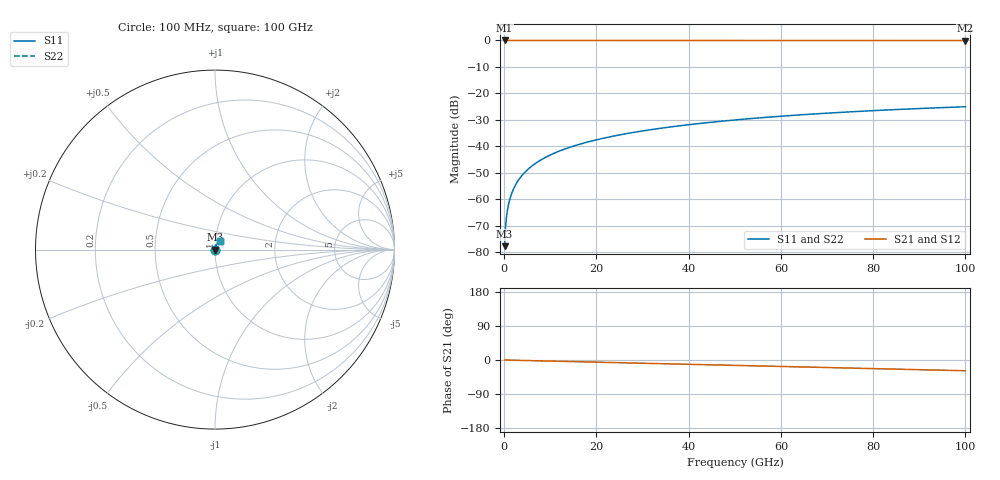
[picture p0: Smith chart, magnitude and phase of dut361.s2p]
! Touchstone file exported from HFSS 2026.1.0
!  File:  C:/ffzhzh/LocalFiles/Ansys_Project_Files/temp_train_TSV_361_1783510184_41296.aedt
!  Generated:  07:30:54 PM Jul  8, 2026
!  Design:  TSV
!  Project:  temp_train_TSV_361_1783510184_41296
! Variables:
!  h_bsmrdl = 2um
!  h_ox = 20um
!  h_rdl = 5um
!  h_sub = 51.47um
!  h_tmrdl = 5um
!  h_tsv = 51.47um
!  h_via = 3um
!  l_bsmrdl = 300um
!  l_sub = 420.56um
!  l_tmrdl = 200um
!  m_sub = 200um
!  pitch = 47.29um
!  r_tsv = 10.28um
!  s_tmrdl = 10um
!  w_bsmrdl = 18um
!  w_sub = 500um
!  w_tmrdl = 12um
!  x_tsv_center1 = 206um
!  x_tsv_center2 = 524um
!  x_tsv_center3 = 736um
!  x_tsv_center4 = 1054um
!  x_tsv_center5 = 1266um
!  x_tsv_center6 = 1584um
# GHz S MA R 50.000000
! Terminal data exported
! Port[1] = TSV1_1_T1
! Port[2] = TSV1_1_T2
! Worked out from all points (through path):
!   1000 points, 100 MHz to 100 GHz, reference 50 ohm
!   highest |S21| = 0.00 dB at 100 MHz (marker M1); lowest = 0.0 dB at 100 GHz (marker M2)
!   group delay of S21, straight-line fit = 788 fs
!   lowest |S11| = -77.7 dB at 100 MHz (marker M3), VSWR 1.00, Z = 50 + j0.00957 ohm
!   |S11| at or under -10 dB: start of sweep to end of sweep
!   |S22| runs from -77.7 to -25.0 dB; largest |S21 - S12| = 2.1e-15
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0.1  0.0001305 47.2  0.9999 -0.0  0.9999 -0.0  0.0001305 47.2
! Gamma 0 0 0 0
! Port Impedance 50 0 50 0
0.4  0.0003816 70.7  0.9999 -0.1  0.9999 -0.1  0.0003816 70.7
0.7  0.0006149 74.2  0.9998 -0.2  0.9998 -0.2  0.0006149 74.2
0.8  0.0006892 75.0  0.9998 -0.2  0.9998 -0.2  0.0006892 75.0
1.1  0.0009076 76.7  0.9998 -0.3  0.9998 -0.3  0.0009076 76.7
1.4  0.001123 77.9  0.9998 -0.4  0.9998 -0.4  0.001123 77.9
1.9  0.001478 79.1  0.9997 -0.6  0.9997 -0.6  0.001478 79.1
2.4  0.001827 79.9  0.9997 -0.7  0.9997 -0.7  0.001827 79.9
3.1  0.002307 80.6  0.9997 -0.9  0.9997 -0.9  0.002307 80.6
3.9  0.002848 81.1  0.9996 -1.1  0.9996 -1.1  0.002848 81.1
4.9  0.003517 81.6  0.9996 -1.4  0.9996 -1.4  0.003517 81.6
6.1  0.004313 81.9  0.9995 -1.7  0.9995 -1.7  0.004313 81.9
8.9  0.006157 82.1  0.9994 -2.5  0.9994 -2.5  0.006157 82.1
12.4  0.008438 81.7  0.9993 -3.5  0.9993 -3.5  0.008438 81.7
16.8  0.01127 81.0  0.9991 -4.8  0.9991 -4.8  0.01127 81.0
24.2  0.01595 79.6  0.9989 -6.9  0.9989 -6.9  0.01595 79.6
33.4  0.02166 77.5  0.9986 -9.5  0.9986 -9.5  0.02166 77.6
41.2  0.02637 75.6  0.9984 -11.7  0.9984 -11.7  0.02637 75.6
50.1  0.03158 73.3  0.9981 -14.2  0.9981 -14.2  0.03158 73.3
66.7  0.04067 68.8  0.9975 -18.9  0.9975 -18.9  0.04067 68.8
83.4  0.04889 64.3  0.997 -23.7  0.997 -23.7  0.04889 64.3
100  0.05605 59.8  0.9963 -28.4  0.9963 -28.4  0.05605 59.8
